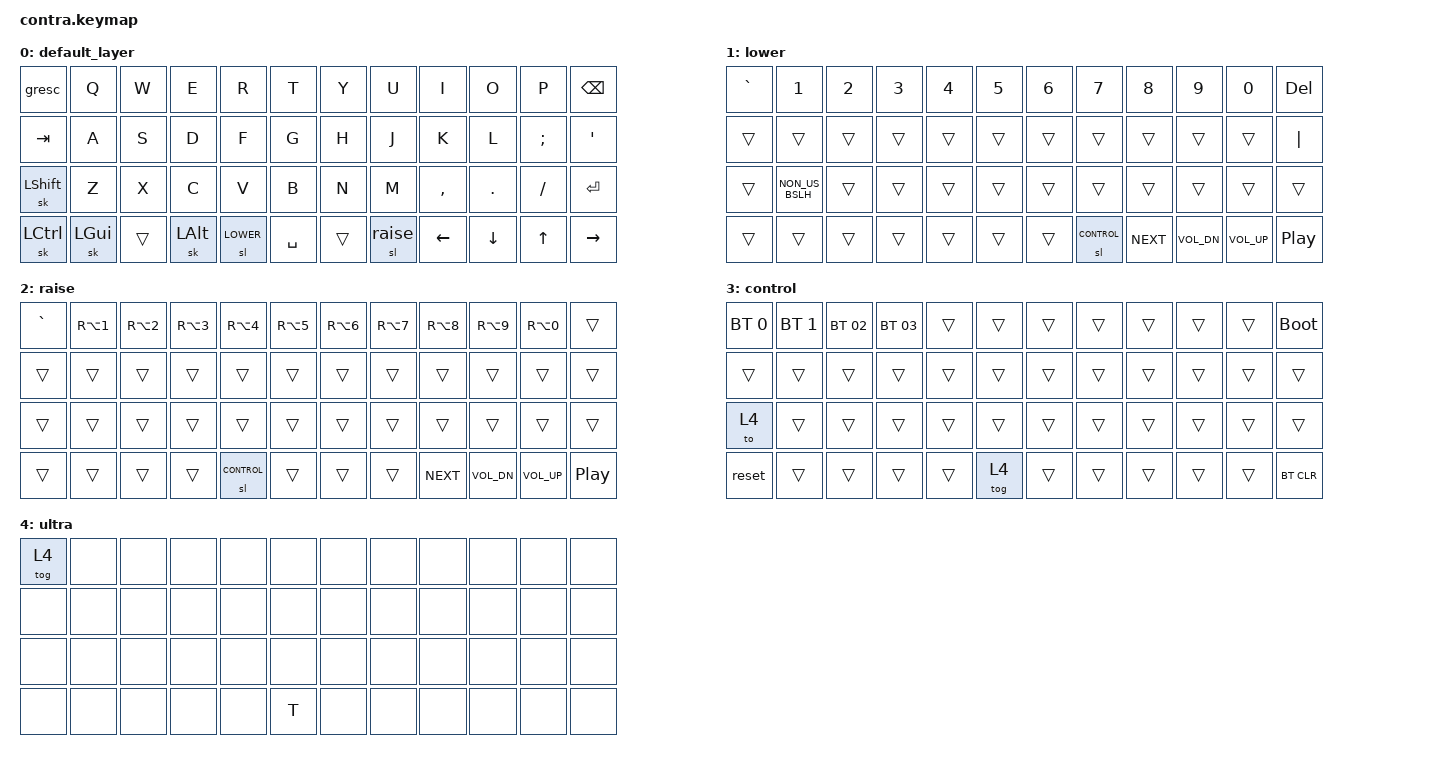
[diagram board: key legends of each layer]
/*
 * Copyright (c) 2020 The ZMK Contributors
 *
 * SPDX-License-Identifier: MIT
 */

#include <behaviors.dtsi>
#include <dt-bindings/zmk/keys.h>
#include <dt-bindings/zmk/bt.h>

#define DEFAULT   0 	//layout defecto, teclas normales y acceso superiores
#define LOWER  	  1 	//layout abajo: numeros y poco mas
#define raise     2		//layout con altgr para @ , []{}|\etc
#define CONTROL   3		//layout control: contiene parametros blutu, bootloader, reinicio etc


/ {
    combos {//COMBO DE PRUEBA, JEJE, ESCAPE+Q=H
        compatible = "zmk,combos";
        combo_esc {
            timeout-ms = <190>;
            key-positions = <0 1>;
            bindings = <&kp H>;
        };
    };

 	behaviors {
        skalt: sticky_alternativo {
            compatible = "zmk,behavior-hold-tap";
            label = "Sticky alternativo";
            #binding-cells = <2>;
            tapping_term_ms = <200>;
            flavor = "tap-preferred";
            bindings = <&kp>, <&sk>;
        };
		
		
    };
	keymap {
		compatible = "zmk,keymap";

		default_layer {
				// -----------------------------------------------------------------------------------------
				// |  ESC/º|  Q   |  W   |  E   |  R   |  T   |   Y   |  U    |  I   |  O   |   P      | BSPC  |
				// |  TAB  |  A   |  S   |  D   |  F   |  G   |   H   |  J    |  K   |  L   |   ;(ñ)   |  ´    |
				// | SHIFT |  Z   |  X   |  C   |  V   |  B   |   N   |  M    |  ,   |  .   |   /(-)   |  ENTER |
				// | LCTL  | LGUI | ¿¿?? | ALT  | LOWR |     SPACE    |  RAIS | ¿¿?? | ¿¿?? | ¿¿??     |  ¿¿?? |
			bindings = <
				&gresc	  	&kp Q    	&kp W 		&kp E 		&kp R 		&kp T  		&kp Y   &kp U		&kp I    	 &kp O  	 &kp P    &kp BSPC
				&kp TAB 	&kp A   	&kp S 		&kp D 		&kp F 		&kp G  		&kp H   &kp J 		&kp K    	 &kp L  	 &kp SEMI &kp SQT
				&sk LSHFT 	&kp Z    	&kp X 		&kp C 		&kp V		&kp B  		&kp N   &kp M 		&kp COMMA 	 &kp DOT  	 &kp FSLH &kp RET
				&sk LCTRL 	&sk LGUI	&trans	 	&sk LALT 	&sl LOWER	&kp SPACE 	&trans	&sl raise	&kp LEFT 	 &kp DOWN 	 &kp UP   &kp RIGHT
			>;
		};

		lower {
			// -----------------------------------------------------------------------------------------
				// |  ??¿¿ |  1   |  2   |  3   |  4   | 5    |  6   |  7    |  8   |  9   |   0   | DELETE  |
				// |  ¿¿?? |      |      |      |      |      |      |       |      |      |       |      |
				// | ¿¿??  |(\|)<>|      |      |      |      |      |       |      |      |       |   	  |
				// | ¿¿??  | ¿¿?? | ¿¿?? | ¿¿?? | LOWR |     SPACE   |  RAIS | ¿¿?? | ¿¿?? | ¿¿??  |   ?? |
			bindings = <
				&kp GRAVE 	&kp N1 			&kp N2 	&kp N3  	&kp N4  	&kp N5 		&kp N6  	&kp N7 	 	 &kp N8 		&kp N9	 	 &kp N0 	&kp DEL
				&trans		&trans 	 		&trans 	&trans		&trans 	 	&trans 		&trans 		&trans 		 &trans 		&trans 		 &trans 	&kp PIPE
				&trans 		&kp NON_US_BSLH	&trans 	&trans 		&trans 		&trans 		&trans  	&trans 		 &trans 		&trans 	 	 &trans 	&trans
				&trans		&trans 	 		&trans 	&trans 		&trans 		&trans 		&trans 		&sl CONTROL	 &kp C_NEXT 	&kp C_VOL_DN &kp C_VOL_UP &kp C_PP
			>;
		};

		raise {
			// -----------------------------------------------------------------------------------------
				// | ??¿¿ |  |   |  @   |  #   |  ~   |  €   |   ¬   |       |      |      |       | ¿¿??   |
				// | ¿¿?? |      |      |      |      |      |       |       |      |      |       |  ¿¿??  |
				// | ¿¿?? |      |      |      |      |      |       |       |      |      |       |   	 	|
				// | ¿¿?? | ¿¿?? | ¿¿?? | ¿¿?? | LOWR |     SPACE    |  RAIS | ¿¿?? | ¿¿?? | ¿¿??  |  ¿¿?? 	|
			bindings = <
				&kp GRAVE 	&kp RA(N1) &kp RA(N2) &kp RA(N3) &kp RA(N4) &kp RA(N5) &kp RA(N6) &kp RA(N7)	&kp RA(N8) 	&kp RA(N9) 	 &kp RA(N0) 	&trans
				&trans		&trans 		&trans 	  &trans 	&trans 		&trans 	   &trans 	  &trans		&trans 		&trans 		 &trans 		&trans
				&trans 		&trans 	   &trans 	  &trans 	&trans 		&trans	   &trans	  &trans 		&trans 		&trans 		 &trans 		&trans
				&trans 		&trans 	   &trans	  &trans 	&sl CONTROL &trans     &trans  	  &trans 		&kp C_NEXT  &kp C_VOL_DN &kp C_VOL_UP 	&kp C_PP
			>;
		};
		
		control {
			// -----------------------------------------------------------------------------------------
				// | BT0 |  BT1   |  BT2   |  BT3   |  	 	  |  	  |   	 |   	|     |     |      |      |
				// |     |        |        |        |   	  | F1    | N3   |  F5 	|  F7 | F9  | F11  |      |
				// |TO 4 |        |        |        |    	  | F2    | F4   |  F6	|  F8 | F10 | F12  |      |
				// | RESET | 	  | 	   |       	|   LOWR  |      		 | RAIS	|  	  | 	|      |  BT CLEAR |
			bindings = <
				&bt BT_SEL 0 &bt BT_SEL 1	&bt BT_SEL 02 	&bt BT_SEL 03 	&trans &trans &trans &trans &trans &trans &trans &bootloader
				&trans		 &trans 		&trans 			&trans 			&trans &trans &trans &trans &trans &trans &trans &trans
				&to 4 		 &trans 		&trans 			&trans 			&trans &trans &trans &trans &trans &trans &trans &trans
				&reset 		 &trans 		&trans 			&trans 			&trans &tog 4 &trans &trans &trans &trans &trans &bt BT_CLR
			>;
		};
		ultra {
			// -----------------------------------------------------------------------------------------
				// | TOGLE |      |        |  	    |  	   |   	  |      |      |     |     |      |	  |
				// |     |        |        |        |      |      |      |      |     |     |      |      |
				// | 	 |        |        |        |      |  	  |      |      |     |     |      |      |
				// | RESET | 	  | 	   |       	|  	   |     		 |   	|  	  | 	| 	   |  BT CLEAR |
			bindings = <
				&tog 4 &none &none &none &none &none &none &none &none &none &none &none
				&none  &none &none &none &none &none &none &none &none &none &none &none
				&none  &none &none &none &none &none &none &none &none &none &none &none
				&none  &none &none &none &none &kp T &none &none &none &none &none &none
			>;
		};
	};
};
